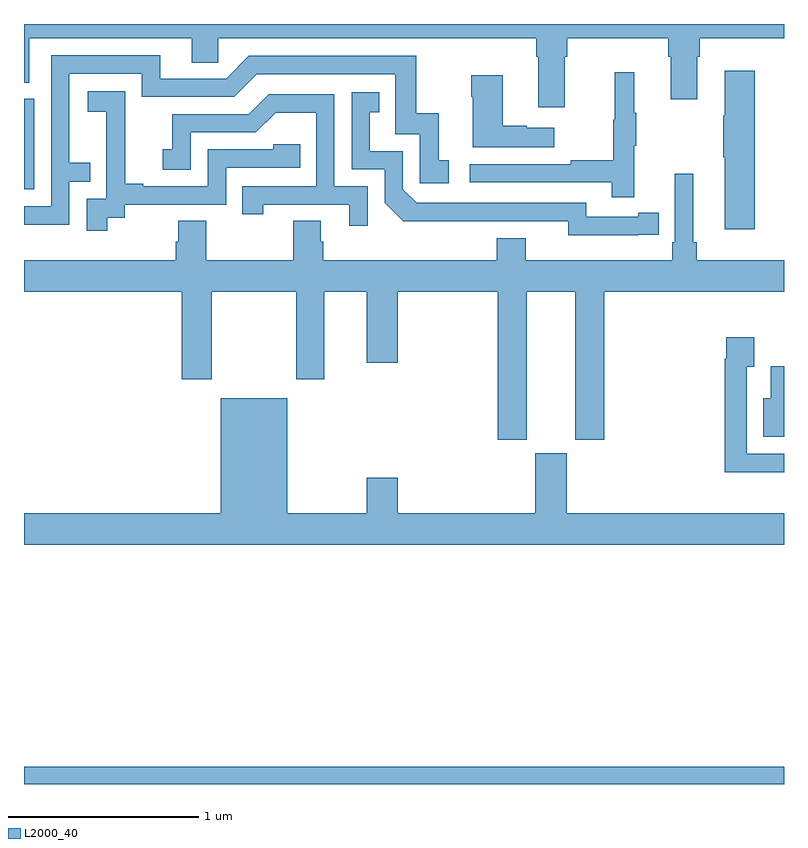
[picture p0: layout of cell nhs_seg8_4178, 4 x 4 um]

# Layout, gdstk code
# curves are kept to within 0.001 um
import gdstk
lib = gdstk.Library(unit=1e-6, precision=1e-09)
def R(c, l, rs):  # rectangles x0, y0, x1, y1
    for r in rs: c.add(gdstk.rectangle(r[:2], r[2:], *l))
def P(c, l, *ps):  # polygons
    for p in ps: c.add(gdstk.Polygon(p, *l))
L2000_40 = (2000, 40)

nhs_seg8_4178 = lib.new_cell('nhs_seg8_4178')
R(nhs_seg8_4178, L2000_40, [(367,1121.9,371,1121.992), (367,1125.03,367.053,1125.507)])
P(nhs_seg8_4178, L2000_40, [(369.847,1125.728),(369.86,1125.728),(369.86,1125.824),(370.391,1125.824),(370.391,1125.728),(370.403,1125.728),(370.403,1125.504),(370.543,1125.504),(370.543,1125.728),(370.556,1125.728),(370.556,1125.824),(371,1125.824),(371,1125.9),(367,1125.9),(367,1125.592),(367.027,1125.592),(367.027,1125.824),(367.883,1125.824),(367.883,1125.697),(368.022,1125.697),(368.022,1125.824),(369.695,1125.824),(369.695,1125.728),(369.707,1125.728),(369.707,1125.462),(369.847,1125.462)],
  [(367.239,1125.069),(367.349,1125.069),(367.349,1125.17),(367.239,1125.17),(367.239,1125.639),(367.62,1125.639),(367.62,1125.516),(368.106,1125.516),(368.226,1125.636),(368.955,1125.636),(368.955,1125.321),(369.084,1125.321),(369.084,1125.063),(369.235,1125.063),(369.235,1125.183),(369.182,1125.183),(369.182,1125.43),(369.064,1125.43),(369.064,1125.732),(368.184,1125.732),(368.064,1125.612),(367.717,1125.612),(367.717,1125.735),(367.143,1125.735),(367.143,1124.94),(367,1124.94),(367,1124.844),(367.239,1124.844)],
  [(370.847,1125.655),(370.688,1125.655),(370.688,1125.416),(370.681,1125.416),(370.681,1125.199),(370.688,1125.199),(370.688,1124.82),(370.847,1124.82)],
  [(370.211,1125.259),(370.222,1125.259),(370.222,1125.433),(370.211,1125.433),(370.211,1125.646),(370.108,1125.646),(370.108,1125.396),(370.101,1125.396),(370.101,1125.182),(369.877,1125.182),(369.877,1125.162),(369.345,1125.162),(369.345,1125.066),(370.093,1125.066),(370.093,1124.988),(370.211,1124.988)],
  [(369.79,1125.355),(369.647,1125.355),(369.647,1125.365),(369.52,1125.365),(369.52,1125.631),(369.355,1125.631),(369.355,1125.518),(369.362,1125.518),(369.362,1125.251),(369.79,1125.251)],
  [(367.438,1124.881),(367.53,1124.881),(367.53,1124.949),(368.064,1124.949),(368.064,1125.144),(368.453,1125.144),(368.453,1125.267),(368.313,1125.267),(368.313,1125.24),(367.968,1125.24),(367.968,1125.045),(367.627,1125.045),(367.627,1125.058),(367.532,1125.058),(367.532,1125.341),(367.533,1125.341),(367.533,1125.547),(367.335,1125.547),(367.335,1125.437),(367.433,1125.437),(367.433,1125.209),(367.434,1125.209),(367.434,1124.979),(367.329,1124.979),(367.329,1124.811),(367.438,1124.811)],
  [(370.232,1124.79),(370.34,1124.79),(370.34,1124.906),(370.232,1124.906),(370.232,1124.886),(369.96,1124.886),(369.96,1124.958),(369.066,1124.958),(368.994,1125.03),(368.994,1125.231),(368.821,1125.231),(368.821,1125.435),(368.87,1125.435),(368.87,1125.541),(368.724,1125.541),(368.724,1125.135),(368.898,1125.135),(368.898,1124.958),(368.996,1124.861),(369.864,1124.862),(369.864,1124.789)],
  [(368.808,1125.045),(368.634,1125.045),(368.634,1125.531),(368.288,1125.531),(368.183,1125.426),(367.78,1125.426),(367.78,1125.241),(367.731,1125.241),(367.731,1125.132),(367.878,1125.132),(367.878,1125.33),(368.22,1125.33),(368.324,1125.434),(368.538,1125.434),(368.538,1125.045),(368.149,1125.045),(368.149,1124.898),(368.26,1124.898),(368.26,1124.949),(368.711,1124.949),(368.711,1124.838),(368.808,1124.838)],
  [(369.646,1124.492),(369.902,1124.492),(369.902,1123.713),(370.055,1123.713),(370.055,1124.492),(371,1124.492),(371,1124.656),(370.541,1124.656),(370.541,1124.752),(370.522,1124.752),(370.522,1125.112),(370.425,1125.112),(370.425,1124.752),(370.412,1124.752),(370.412,1124.656),(369.64,1124.656),(369.64,1124.773),(369.488,1124.773),(369.488,1124.656),(368.576,1124.656),(368.576,1124.754),(368.563,1124.754),(368.563,1124.864),(368.416,1124.864),(368.416,1124.656),(367.959,1124.656),(367.959,1124.864),(367.811,1124.864),(367.811,1124.754),(367.799,1124.754),(367.799,1124.656),(367,1124.656),(367,1124.492),(367.829,1124.492),(367.829,1124.031),(367.989,1124.031),(367.989,1124.492),(368.434,1124.492),(368.434,1124.031),(368.581,1124.031),(368.581,1124.492),(368.804,1124.492),(368.804,1124.118),(368.968,1124.118),(368.968,1124.492),(369.494,1124.492),(369.494,1123.713),(369.646,1123.713)],
  [(370.979,1123.542),(371,1123.542),(371,1123.638),(370.803,1123.638),(370.803,1124.095),(370.843,1124.095),(370.843,1124.251),(370.695,1124.251),(370.695,1124.138),(370.687,1124.138),(370.687,1123.541),(370.979,1123.541)],
  [(371,1124.098),(370.931,1124.098),(370.931,1123.93),(370.892,1123.93),(370.892,1123.727),(371,1123.727)],
  [(371,1123.324),(369.856,1123.324),(369.856,1123.641),(369.692,1123.641),(369.692,1123.324),(368.968,1123.324),(368.968,1123.513),(368.804,1123.513),(368.804,1123.324),(368.386,1123.324),(368.386,1123.93),(368.036,1123.93),(368.036,1123.324),(367,1123.324),(367,1123.16),(371,1123.16)])

lib.write_gds('nhs_seg8_4178.gds')
